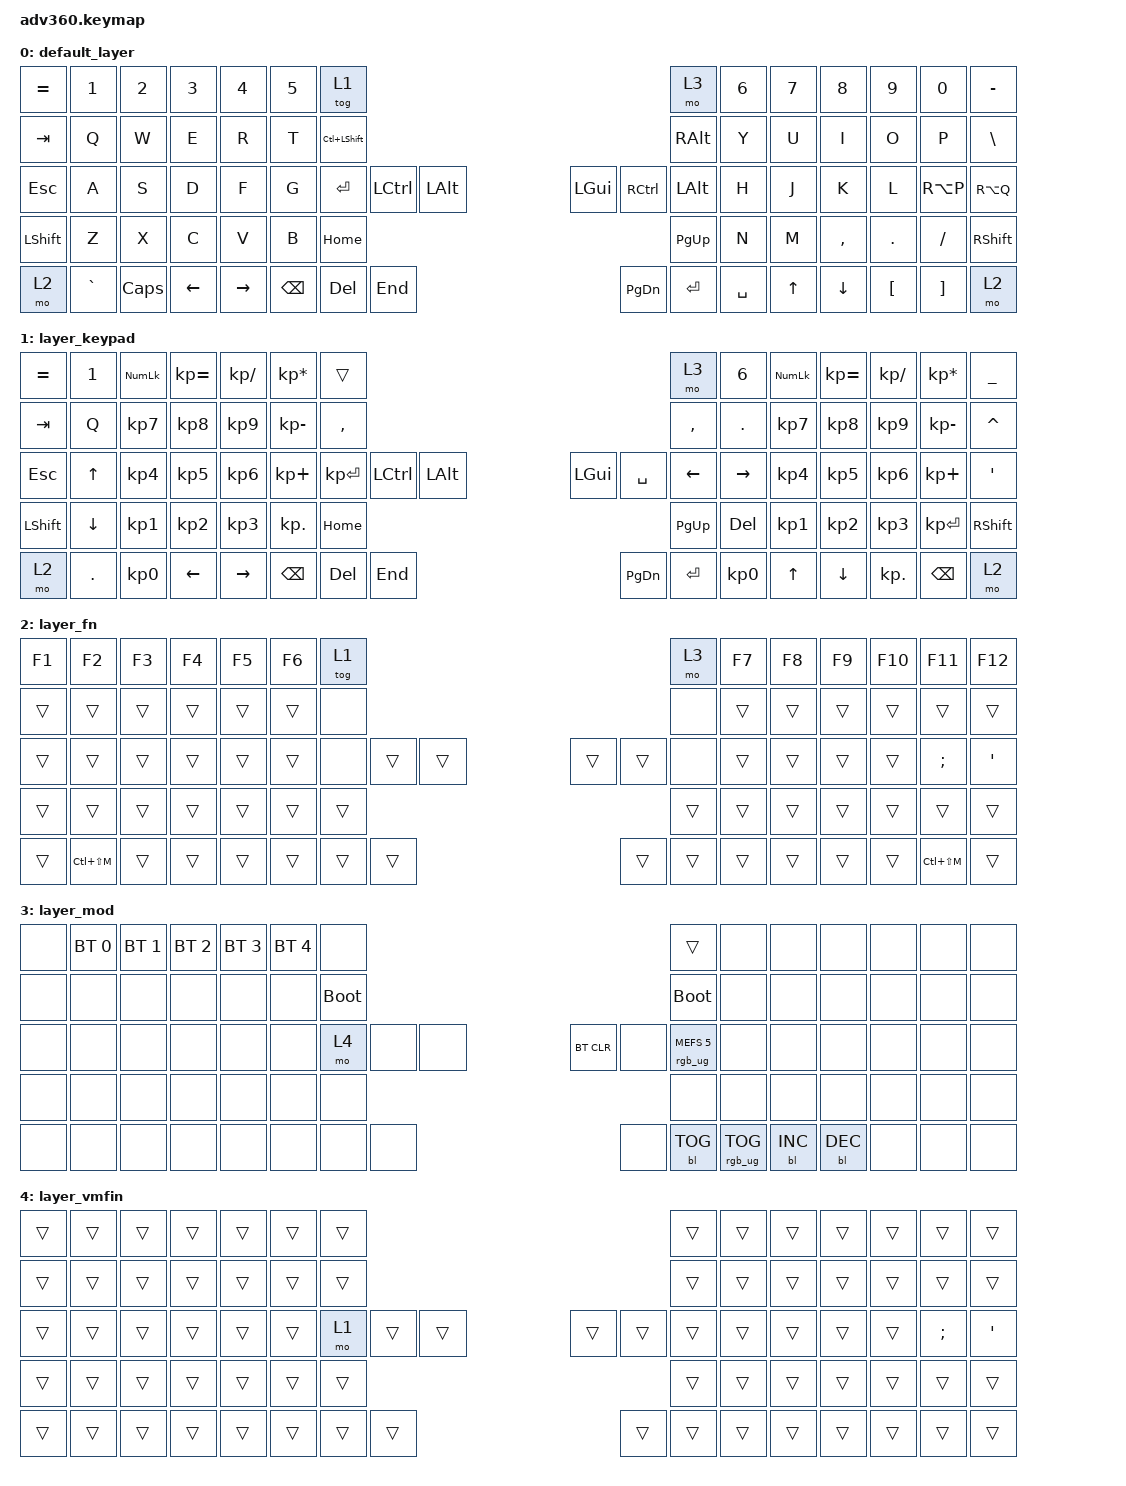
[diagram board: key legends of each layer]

/*
 * Copyright (c) 2020 The ZMK Contributors
 *
 * SPDX-License-Identifier: MIT
 */


/* THIS FILE WAS GENERATED!
 *
 * This file was generated automatically. You may or may not want to
 * edit it directly.
 */

#include <behaviors.dtsi>
#include <dt-bindings/zmk/keys.h>
#include <dt-bindings/zmk/bt.h>
#include <dt-bindings/zmk/rgb.h>
#include <dt-bindings/zmk/backlight.h>

/ {
  behaviors {
    #include "macros.dtsi"
    #include "version.dtsi"

    hm: homerow_mods {
        compatible = "zmk,behavior-hold-tap";
        label = "HOMEROW_MODS";
        #binding-cells = <2>;
        tapping-term-ms = <200>;
        quick_tap_ms = <175>;
        flavor = "tap-preferred";
        bindings = <&kp>, <&kp>;
    };
  };

    keymap {
        compatible = "zmk,keymap";


        default_layer {
            bindings = <
 &kp EQUAL     &kp N1    &kp N2    &kp N3     &kp N4  &kp N5                    &tog 1                                                                 &mo 3  &kp N6  &kp N7     &kp N8    &kp N9     &kp N0  &kp MINUS
   &kp TAB      &kp Q     &kp W     &kp E      &kp R   &kp T            &kp LC(LSHIFT)                                                              &kp RALT   &kp Y   &kp U      &kp I     &kp O      &kp P   &kp BSLH
   &kp ESC      &kp A     &kp S     &kp D      &kp F   &kp G                 &kp ENTER  &kp LCTRL  &kp LALT                   &kp LGUI  &kp RCTRL   &kp LALT   &kp H   &kp J      &kp K     &kp L  &kp RA(P)  &kp RA(Q)
 &kp LSHFT      &kp Z     &kp X     &kp C      &kp V   &kp B                                       &kp HOME                  &kp PG_UP                         &kp N   &kp M  &kp COMMA   &kp DOT   &kp FSLH  &kp RSHFT
     &mo 2  &kp GRAVE  &kp CAPS  &kp LEFT  &kp RIGHT                          &kp BSPC    &kp DEL   &kp END                  &kp PG_DN  &kp ENTER  &kp SPACE          &kp UP   &kp DOWN  &kp LBKT   &kp RBKT      &mo 2
            >;
        };

        layer_keypad {
            bindings = <
 &kp EQUAL    &kp N1  &kp KP_NUM  &kp KP_EQUAL  &kp KP_SLASH  &kp KP_MULTIPLY                  &trans                                                                 &mo 3     &kp N6  &kp KP_NUM  &kp KP_EQUAL  &kp KP_DIVIDE  &kp KP_MULTIPLY  &kp UNDERSCORE
   &kp TAB     &kp Q   &kp KP_N7     &kp KP_N8     &kp KP_N9     &kp KP_MINUS               &kp COMMA                                                             &kp COMMA    &kp DOT   &kp KP_N7     &kp KP_N8      &kp KP_N9     &kp KP_MINUS       &kp CARET
   &kp ESC    &kp UP   &kp KP_N4     &kp KP_N5     &kp KP_N6      &kp KP_PLUS            &kp KP_ENTER  &kp LCTRL  &kp LALT                   &kp LGUI  &kp SPACE   &kp LEFT  &kp RIGHT   &kp KP_N4     &kp KP_N5      &kp KP_N6      &kp KP_PLUS         &kp SQT
 &kp LSHFT  &kp DOWN   &kp KP_N1     &kp KP_N2     &kp KP_N3       &kp KP_DOT                                     &kp HOME                  &kp PG_UP                          &kp DEL   &kp KP_N1     &kp KP_N2      &kp KP_N3     &kp KP_ENTER       &kp RSHFT
     &mo 2   &kp DOT   &kp KP_N0      &kp LEFT     &kp RIGHT                                 &kp BSPC    &kp DEL   &kp END                  &kp PG_DN  &kp ENTER  &kp KP_N0                 &kp UP      &kp DOWN     &kp KP_DOT         &kp BSPC           &mo 2
            >;
        };

        layer_fn {
            bindings = <
 &kp F1         &kp F2  &kp F3  &kp F4  &kp F5  &kp F6            &tog 1                                                   &mo 3  &kp F7  &kp F8  &kp F9  &kp F10        &kp F11  &kp F12
 &trans         &trans  &trans  &trans  &trans  &trans             &none                                                   &none  &trans  &trans  &trans   &trans         &trans   &trans
 &trans         &trans  &trans  &trans  &trans  &trans             &none  &trans  &trans                  &trans  &trans   &none  &trans  &trans  &trans   &trans       &kp SEMI  &kp SQT
 &trans         &trans  &trans  &trans  &trans  &trans                            &trans                  &trans                  &trans  &trans  &trans   &trans         &trans   &trans
 &trans  &kp LC(LS(M))  &trans  &trans  &trans                    &trans  &trans  &trans                  &trans  &trans  &trans          &trans  &trans   &trans  &kp LC(LS(M))   &trans
            >;
        };

        layer_mod {
            bindings = <
  &none  &bt BT_SEL 0  &bt BT_SEL 1  &bt BT_SEL 2  &bt BT_SEL 3  &bt BT_SEL 4                  &none                                                                          &trans   &none       &none       &none   &none   &none   &none
  &none         &none         &none         &none         &none         &none            &bootloader                                                                     &bootloader   &none       &none       &none   &none   &none   &none
  &none         &none         &none         &none         &none         &none                  &mo 4   &none   &none                  &bt BT_CLR       &none  &rgb_ug RGB_MEFS_CMD 5   &none       &none       &none   &none   &none   &none
  &none         &none         &none         &none         &none         &none                                  &none                       &none                                       &none       &none       &none   &none   &none   &none
  &none         &none         &none         &none         &none                                &none   &none   &none                       &none  &bl BL_TOG         &rgb_ug RGB_TOG          &bl BL_INC  &bl BL_DEC   &none   &none   &none
            >;
        };

        layer_vmfin {
            bindings = <
 &trans  &trans  &trans  &trans  &trans  &trans            &trans                                                  &trans  &trans  &trans  &trans  &trans    &trans   &trans
 &trans  &trans  &trans  &trans  &trans  &trans            &trans                                                  &trans  &trans  &trans  &trans  &trans    &trans   &trans
 &trans  &trans  &trans  &trans  &trans  &trans             &mo 1  &trans  &trans                  &trans  &trans  &trans  &trans  &trans  &trans  &trans  &kp SEMI  &kp SQT
 &trans  &trans  &trans  &trans  &trans  &trans                            &trans                  &trans                  &trans  &trans  &trans  &trans    &trans   &trans
 &trans  &trans  &trans  &trans  &trans                    &trans  &trans  &trans                  &trans  &trans  &trans          &trans  &trans  &trans    &trans   &trans
            >;
        };

    };
};
